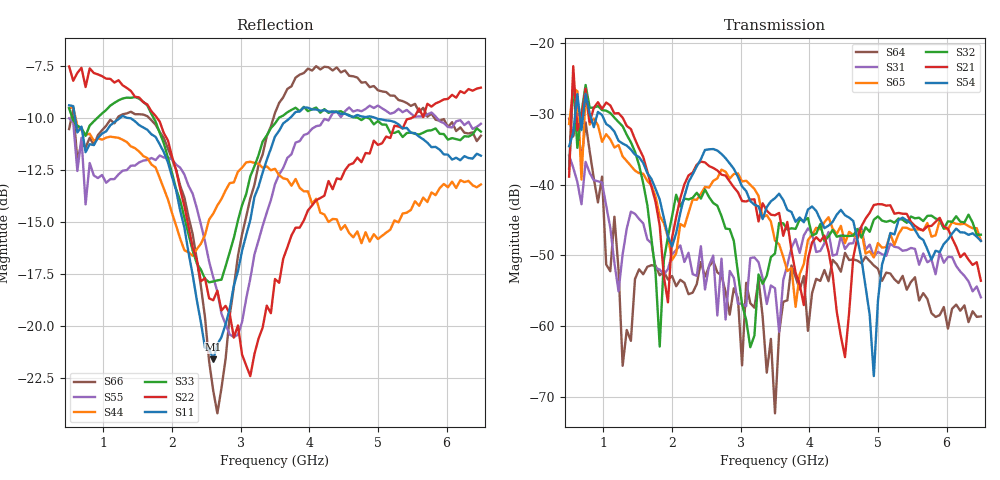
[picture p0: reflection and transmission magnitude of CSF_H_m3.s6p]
!Keysight Technologies,M9804A,MY58100912,A.14.10.03
!Date: Thursday, April 27, 2023 10:28:33
!Correction: S11(C  6-Port  )
!S12(C  6-Port  )
!S13(C  6-Port  )
!S14(C  6-Port  )
!S15(C  6-Port  )
!S16(C  6-Port  )
!S21(C  6-Port  )
!S22(C  6-Port  )
!S23(C  6-Port  )
!S24(C  6-Port  )
!S25(C  6-Port  )
!S26(C  6-Port  )
!S31(C  6-Port  )
!S32(C  6-Port  )
!S33(C  6-Port  )
!S34(C  6-Port  )
!S35(C  6-Port  )
!S36(C  6-Port  )
!S41(C  6-Port  )
!S42(C  6-Port  )
!S43(C  6-Port  )
!S44(C  6-Port  )
!S45(C  6-Port  )
!S46(C  6-Port  )
!S51(C  6-Port  )
!S52(C  6-Port  )
!S53(C  6-Port  )
!S54(C  6-Port  )
!S55(C  6-Port  )
!S56(C  6-Port  )
!S61(C  6-Port  )
!S62(C  6-Port  )
!S63(C  6-Port  )
!S64(C  6-Port  )
!S65(C  6-Port  )
!S66(C  6-Port  )
!S6P File: Measurement: :
# Hz S  RI  R 50
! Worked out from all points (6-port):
!   101 points, 500 MHz to 6.5 GHz, reference 50 ohm
!   strongest paths, dB at 500 MHz, 2 GHz, 3.5 GHz, 5 GHz, 6.5 GHz:
!     S54: -34.6, -48.7, -41.9, -56.4, -48.0
!     S21: -38.9, -47.5, -44.3, -42.8, -53.6
!     S32: -37.7, -44.5, -49.7, -44.5, -47.1
!     S65: -31.4, -50.7, -47.9, -48.3, -47.9
!     S31: -35.9, -49.9, -54.7, -49.5, -55.9
!     S64: -30.7, -52.9, -72.4, -51.9, -58.6
!   lowest |S11| = -21.6 dB at 2.6 GHz (marker M1), VSWR 1.18, Z = 42.6 + j2.02 ohm
!   |S11| at or under -10 dB: 587.5 MHz to 1.239 GHz (651.3 MHz wide, 71.3 % of centre); 1.383 GHz to 3.715 GHz (2.332 GHz wide, 91.5 % of centre); 4.971 GHz to end of sweep
